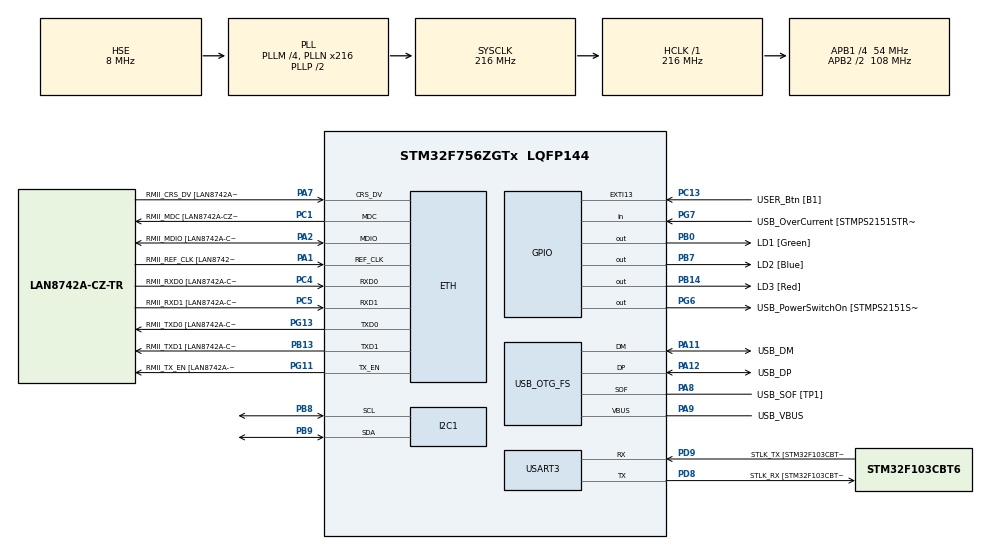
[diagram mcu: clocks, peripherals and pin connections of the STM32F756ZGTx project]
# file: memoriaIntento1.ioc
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ETH.MediaInterface=HAL_ETH_RMII_MODE
ETH.PHY_Name=LAN8742A_PHY_ADDRESS
ETH.PHY_Value=0
ETH.PhyAddress=0
I2C1.Timing=0x20404768
Mcu.Family=STM32F7
Mcu.Name=STM32F756ZGTx
Mcu.Package=LQFP144
NVIC.PriorityGroup=NVIC_PRIORITYGROUP_4
PA1.GPIO_Label=RMII_REF_CLK [LAN8742A-CZ-TR_REFCLK0]
PA1.Mode=RMII
PA1.Signal=ETH_REF_CLK
PA10.GPIO_Label=USB_ID
PA10.Signal=USB_OTG_FS_ID
PA11.GPIO_Label=USB_DM
PA11.Mode=Device_Only
PA11.Signal=USB_OTG_FS_DM
PA12.GPIO_Label=USB_DP
PA12.Mode=Device_Only
PA12.Signal=USB_OTG_FS_DP
PA13.GPIO_Label=TMS
PA13.Mode=Serial_Wire
PA13.Signal=SYS_JTMS-SWDIO
PA14.GPIO_Label=TCK
PA14.Mode=Serial_Wire
PA14.Signal=SYS_JTCK-SWCLK
PA2.GPIO_Label=RMII_MDIO [LAN8742A-CZ-TR_MDIO]
PA2.Mode=RMII
PA2.Signal=ETH_MDIO
PA7.GPIO_Label=RMII_CRS_DV [LAN8742A-CZ-TR_CRS_DV]
PA7.Mode=RMII
PA7.Signal=ETH_CRS_DV
PA8.GPIO_Label=USB_SOF [TP1]
PA8.Mode=Activate_SOF_FS
PA8.Signal=USB_OTG_FS_SOF
PA9.GPIO_Label=USB_VBUS
PA9.Mode=Activate_VBUS
PA9.Signal=USB_OTG_FS_VBUS
PB0.GPIO_Label=LD1 [Green]
PB0.Signal=GPIO_Output
PB13.GPIO_Label=RMII_TXD1 [LAN8742A-CZ-TR_TXD1]
PB13.Mode=RMII
PB13.Signal=ETH_TXD1
PB14.GPIO_Label=LD3 [Red]
PB14.Signal=GPIO_Output
PB3.GPIO_Label=SW0
PB3.Signal=SYS_JTDO-SWO
PB7.GPIO_Label=LD2 [Blue]
PB7.Signal=GPIO_Output
PB8.Mode=I2C
PB8.Signal=I2C1_SCL
PB9.Mode=I2C
PB9.Signal=I2C1_SDA
PC1.GPIO_Label=RMII_MDC [LAN8742A-CZ-TR_MDC]
PC1.Mode=RMII
PC1.Signal=ETH_MDC
PC13.GPIO_Label=USER_Btn [B1]
PC13.Signal=GPXTI13
PC14/OSC32_IN.Signal=RCC_OSC32_IN
PC15/OSC32_OUT.Signal=RCC_OSC32_OUT
PC4.GPIO_Label=RMII_RXD0 [LAN8742A-CZ-TR_RXD0]
PC4.Mode=RMII
PC4.Signal=ETH_RXD0
PC5.GPIO_Label=RMII_RXD1 [LAN8742A-CZ-TR_RXD1]
PC5.Mode=RMII
PC5.Signal=ETH_RXD1
PD8.GPIO_Label=STLK_RX [STM32F103CBT6_PA3]
PD8.Mode=Asynchronous
PD8.Signal=USART3_TX
PD9.GPIO_Label=STLK_TX [STM32F103CBT6_PA2]
PD9.Mode=Asynchronous
PD9.Signal=USART3_RX
PG11.GPIO_Label=RMII_TX_EN [LAN8742A-CZ-TR_TXEN]
PG11.Mode=RMII
PG11.Signal=ETH_TX_EN
PG13.GPIO_Label=RMII_TXD0 [LAN8742A-CZ-TR_TXD0]
PG13.Mode=RMII
PG13.Signal=ETH_TXD0
PG6.GPIO_Label=USB_PowerSwitchOn [STMPS2151STR_EN]
PG6.Signal=GPIO_Output
PG7.GPIO_Label=USB_OverCurrent [STMPS2151STR_FAULT]
PG7.Signal=GPIO_Input
PH0/OSC_IN.GPIO_Label=MCO [STM32F103CBT6_PA8]
PH0/OSC_IN.Mode=HSE-External-Oscillator
PH0/OSC_IN.Signal=RCC_OSC_IN
PH1/OSC_OUT.Mode=HSE-External-Oscillator
PH1/OSC_OUT.Signal=RCC_OSC_OUT
ProjectManager.HeapSize=0x200
ProjectManager.StackSize=0x400
ProjectManager.TargetToolchain=STM32CubeIDE
RCC.48MHZClocksFreq_Value=24000000
RCC.AHBFreq_Value=216000000
RCC.APB1CLKDivider=RCC_HCLK_DIV4
RCC.APB1Freq_Value=54000000
RCC.APB1TimFreq_Value=108000000
RCC.APB2CLKDivider=RCC_HCLK_DIV2
RCC.APB2Freq_Value=108000000
RCC.APB2TimFreq_Value=216000000
RCC.CortexFreq_Value=216000000
RCC.HCLKFreq_Value=216000000
RCC.HSE_VALUE=8000000
RCC.HSI_VALUE=16000000
RCC.PLLM=4
RCC.PLLMUL=RCC_PLL_MUL9
RCC.PLLN=216
RCC.PLLQ=9
RCC.PRESCALERUSB=RCC_USBCLKSOURCE_PLL_DIV1_5
RCC.SYSCLKFreq_VALUE=216000000
RCC.SYSCLKSource=RCC_SYSCLKSOURCE_PLLCLK
RCC.SYSCLKSourceVirtual=RCC_SYSCLKSOURCE_PLLCLK
RCC.USBFreq_Value=48000000
RCC.VCOOutputFreq_Value=432000000
USART3.VirtualMode-Asynchronous=VM_ASYNC
USB_OTG_FS.VirtualMode=Device_Only
board=NUCLEO-F756ZG

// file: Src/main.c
/* USER CODE BEGIN Header */
/**
  ******************************************************************************
  * @file           : main.c
  * @brief          : Main program body
  ******************************************************************************
  * @attention
  *
  * Copyright (c) 2024 STMicroelectronics.
  * All rights reserved.
  *
  * This software is licensed under terms that can be found in the LICENSE file
  * in the root directory of this software component.
  * If no LICENSE file comes with this software, it is provided AS-IS.
  *
  ******************************************************************************
  */
/* USER CODE END Header */
#include "main.h"
#include "string.h"

/* USER CODE BEGIN Includes */
#include <stdlib.h>
/* USER CODE END Includes */

#if defined ( __ICCARM__ ) /*!< IAR Compiler */
#pragma location=0x2004c000
ETH_DMADescTypeDef  DMARxDscrTab[ETH_RX_DESC_CNT]; /* Ethernet Rx DMA Descriptors */
#pragma location=0x2004c0a0
ETH_DMADescTypeDef  DMATxDscrTab[ETH_TX_DESC_CNT]; /* Ethernet Tx DMA Descriptors */

#elif defined ( __CC_ARM )  /* MDK ARM Compiler */

__attribute__((at(0x2004c000))) ETH_DMADescTypeDef  DMARxDscrTab[ETH_RX_DESC_CNT]; /* Ethernet Rx DMA Descriptors */
__attribute__((at(0x2004c0a0))) ETH_DMADescTypeDef  DMATxDscrTab[ETH_TX_DESC_CNT]; /* Ethernet Tx DMA Descriptors */

#elif defined ( __GNUC__ ) /* GNU Compiler */

ETH_DMADescTypeDef DMARxDscrTab[ETH_RX_DESC_CNT] __attribute__((section(".RxDecripSection"))); /* Ethernet Rx DMA Descriptors */
ETH_DMADescTypeDef DMATxDscrTab[ETH_TX_DESC_CNT] __attribute__((section(".TxDecripSection")));   /* Ethernet Tx DMA Descriptors */
#endif

ETH_TxPacketConfig TxConfig;

ETH_HandleTypeDef heth;

I2C_HandleTypeDef hi2c1;

UART_HandleTypeDef huart3;

PCD_HandleTypeDef hpcd_USB_OTG_FS;

void SystemClock_Config(void);
static void MX_GPIO_Init(void);
static void MX_ETH_Init(void);
static void MX_USART3_UART_Init(void);
static void MX_USB_OTG_FS_PCD_Init(void);
static void MX_I2C1_Init(void);

/* USER CODE BEGIN 0 */

// Declare a function to calculate free SRAM
size_t getFreeSRAM() {
    // Symbols provided by the linker script
    extern uint8_t _end;    // End of the heap
    extern uint8_t _estack; // End of SRAM (start of the stack)
    uint8_t* sp = (uint8_t*)__get_MSP(); // Main Stack Pointer (MSP)

    // Calculate free SRAM as the space between the end of the heap and current stack pointer
    return (size_t)(sp - &_end);
}
//Test variables
uint8_t TxBuffer[5120];
uint8_t TrBuffer[5120];
size_t freeSRAM;
uint8_t* allocations[10000]; // Array to store pointers to allocated memory
size_t allocationSize = 256; // Allocate in 256-byte chunks (adjust as needed)
size_t i = 0;

void stressTestSRAM() {

    while (1) {
        allocations[i] = (uint8_t*)malloc(allocationSize);
        if (allocations[i] != NULL) {
        	freeSRAM=getFreeSRAM(); //Check current free SRAM
        	HAL_GPIO_TogglePin(LD1_GPIO_Port, LD1_Pin);
            i++;
        } else {
            //printf("Allocation failed! Out of memory.\n");
            break; // Stop if we run out of SRAM
        }

        HAL_Delay(100); // Delay to slow down the allocation rate (adjust as needed)
    }

    // Free allocated memory after test (optional)
    //for (size_t j = 0; j < i; j++) {
    //  free(allocations[j]);
    //}
}
/* USER CODE END 0 */

int main(void)
{

  /* MCU Configuration--------------------------------------------------------*/

  /* Reset of all peripherals, Initializes the Flash interface and the Systick. */
  HAL_Init();

  /* Configure the system clock */
  SystemClock_Config();

  /* Initialize all configured peripherals */
  MX_GPIO_Init();
  MX_ETH_Init();
  MX_USART3_UART_Init();
  MX_USB_OTG_FS_PCD_Init();
  MX_I2C1_Init();
  /* USER CODE BEGIN 2 */
  //memset(TxBuffer,0x1,5120);
  //memset(TrBuffer,0x1,5120);
  stressTestSRAM();

  /* USER CODE END 2 */

  /* Infinite loop */
  while (1)
  {
	freeSRAM=getFreeSRAM();
	HAL_Delay(1000); // Check SRAM every second
  }
}

void SystemClock_Config(void)
{
  RCC_OscInitTypeDef RCC_OscInitStruct = {0};
  RCC_ClkInitTypeDef RCC_ClkInitStruct = {0};

  /** Configure the main internal regulator output voltage
  */
  __HAL_RCC_PWR_CLK_ENABLE();
  __HAL_PWR_VOLTAGESCALING_CONFIG(PWR_REGULATOR_VOLTAGE_SCALE1);

  /** Initializes the RCC Oscillators according to the specified parameters
  * in the RCC_OscInitTypeDef structure.
  */
  RCC_OscInitStruct.OscillatorType = RCC_OSCILLATORTYPE_HSE;
  RCC_OscInitStruct.HSEState = RCC_HSE_ON;
  RCC_OscInitStruct.PLL.PLLState = RCC_PLL_ON;
  RCC_OscInitStruct.PLL.PLLSource = RCC_PLLSOURCE_HSE;
  RCC_OscInitStruct.PLL.PLLM = 4;
  RCC_OscInitStruct.PLL.PLLN = 216;
  RCC_OscInitStruct.PLL.PLLP = RCC_PLLP_DIV2;
  RCC_OscInitStruct.PLL.PLLQ = 9;
  if (HAL_RCC_OscConfig(&RCC_OscInitStruct) != HAL_OK)
  {
    Error_Handler();
  }

  /** Activate the Over-Drive mode
  */
  if (HAL_PWREx_EnableOverDrive() != HAL_OK)
  {
    Error_Handler();
  }

  /** Initializes the CPU, AHB and APB buses clocks
  */
  RCC_ClkInitStruct.ClockType = RCC_CLOCKTYPE_HCLK|RCC_CLOCKTYPE_SYSCLK
                              |RCC_CLOCKTYPE_PCLK1|RCC_CLOCKTYPE_PCLK2;
  RCC_ClkInitStruct.SYSCLKSource = RCC_SYSCLKSOURCE_PLLCLK;
  RCC_ClkInitStruct.AHBCLKDivider = RCC_SYSCLK_DIV1;
  RCC_ClkInitStruct.APB1CLKDivider = RCC_HCLK_DIV4;
  RCC_ClkInitStruct.APB2CLKDivider = RCC_HCLK_DIV2;

  if (HAL_RCC_ClockConfig(&RCC_ClkInitStruct, FLASH_LATENCY_7) != HAL_OK)
  {
    Error_Handler();
  }
}

static void MX_ETH_Init(void)
{

   static uint8_t MACAddr[6];

  heth.Instance = ETH;
  MACAddr[0] = 0x00;
  MACAddr[1] = 0x80;
  MACAddr[2] = 0xE1;
  MACAddr[3] = 0x00;
  MACAddr[4] = 0x00;
  MACAddr[5] = 0x00;
  heth.Init.MACAddr = &MACAddr[0];
  heth.Init.MediaInterface = HAL_ETH_RMII_MODE;
  heth.Init.TxDesc = DMATxDscrTab;
  heth.Init.RxDesc = DMARxDscrTab;
  heth.Init.RxBuffLen = 1524;

  if (HAL_ETH_Init(&heth) != HAL_OK)
  {
    Error_Handler();
  }

  memset(&TxConfig, 0 , sizeof(ETH_TxPacketConfig));
  TxConfig.Attributes = ETH_TX_PACKETS_FEATURES_CSUM | ETH_TX_PACKETS_FEATURES_CRCPAD;
  TxConfig.ChecksumCtrl = ETH_CHECKSUM_IPHDR_PAYLOAD_INSERT_PHDR_CALC;
  TxConfig.CRCPadCtrl = ETH_CRC_PAD_INSERT;

}

static void MX_I2C1_Init(void)
{

  hi2c1.Instance = I2C1;
  hi2c1.Init.Timing = 0x20404768;
  hi2c1.Init.OwnAddress1 = 0;
  hi2c1.Init.AddressingMode = I2C_ADDRESSINGMODE_7BIT;
  hi2c1.Init.DualAddressMode = I2C_DUALADDRESS_DISABLE;
  hi2c1.Init.OwnAddress2 = 0;
  hi2c1.Init.OwnAddress2Masks = I2C_OA2_NOMASK;
  hi2c1.Init.GeneralCallMode = I2C_GENERALCALL_DISABLE;
  hi2c1.Init.NoStretchMode = I2C_NOSTRETCH_DISABLE;
  if (HAL_I2C_Init(&hi2c1) != HAL_OK)
  {
    Error_Handler();
  }

  /** Configure Analogue filter
  */
  if (HAL_I2CEx_ConfigAnalogFilter(&hi2c1, I2C_ANALOGFILTER_ENABLE) != HAL_OK)
  {
    Error_Handler();
  }

  /** Configure Digital filter
  */
  if (HAL_I2CEx_ConfigDigitalFilter(&hi2c1, 0) != HAL_OK)
  {
    Error_Handler();
  }

}

static void MX_USART3_UART_Init(void)
{

  huart3.Instance = USART3;
  huart3.Init.BaudRate = 115200;
  huart3.Init.WordLength = UART_WORDLENGTH_8B;
  huart3.Init.StopBits = UART_STOPBITS_1;
  huart3.Init.Parity = UART_PARITY_NONE;
  huart3.Init.Mode = UART_MODE_TX_RX;
  huart3.Init.HwFlowCtl = UART_HWCONTROL_NONE;
  huart3.Init.OverSampling = UART_OVERSAMPLING_16;
  huart3.Init.OneBitSampling = UART_ONE_BIT_SAMPLE_DISABLE;
  huart3.AdvancedInit.AdvFeatureInit = UART_ADVFEATURE_NO_INIT;
  if (HAL_UART_Init(&huart3) != HAL_OK)
  {
    Error_Handler();
  }

}

static void MX_USB_OTG_FS_PCD_Init(void)
{

  hpcd_USB_OTG_FS.Instance = USB_OTG_FS;
  hpcd_USB_OTG_FS.Init.dev_endpoints = 6;
  hpcd_USB_OTG_FS.Init.speed = PCD_SPEED_FULL;
  hpcd_USB_OTG_FS.Init.dma_enable = DISABLE;
  hpcd_USB_OTG_FS.Init.phy_itface = PCD_PHY_EMBEDDED;
  hpcd_USB_OTG_FS.Init.Sof_enable = ENABLE;
  hpcd_USB_OTG_FS.Init.low_power_enable = DISABLE;
  hpcd_USB_OTG_FS.Init.lpm_enable = DISABLE;
  hpcd_USB_OTG_FS.Init.vbus_sensing_enable = ENABLE;
  hpcd_USB_OTG_FS.Init.use_dedicated_ep1 = DISABLE;
  if (HAL_PCD_Init(&hpcd_USB_OTG_FS) != HAL_OK)
  {
    Error_Handler();
  }

}

static void MX_GPIO_Init(void)
{
  GPIO_InitTypeDef GPIO_InitStruct = {0};

  /* GPIO Ports Clock Enable */
  __HAL_RCC_GPIOC_CLK_ENABLE();
  __HAL_RCC_GPIOH_CLK_ENABLE();
  __HAL_RCC_GPIOA_CLK_ENABLE();
  __HAL_RCC_GPIOB_CLK_ENABLE();
  __HAL_RCC_GPIOD_CLK_ENABLE();
  __HAL_RCC_GPIOG_CLK_ENABLE();

  /*Configure GPIO pin Output Level */
  HAL_GPIO_WritePin(GPIOB, LD1_Pin|LD3_Pin|LD2_Pin, GPIO_PIN_RESET);

  /*Configure GPIO pin Output Level */
  HAL_GPIO_WritePin(USB_PowerSwitchOn_GPIO_Port, USB_PowerSwitchOn_Pin, GPIO_PIN_RESET);

  /*Configure GPIO pin : USER_Btn_Pin */
  GPIO_InitStruct.Pin = USER_Btn_Pin;
  GPIO_InitStruct.Mode = GPIO_MODE_IT_RISING;
  GPIO_InitStruct.Pull = GPIO_NOPULL;
  HAL_GPIO_Init(USER_Btn_GPIO_Port, &GPIO_InitStruct);

  /*Configure GPIO pins : LD1_Pin LD3_Pin LD2_Pin */
  GPIO_InitStruct.Pin = LD1_Pin|LD3_Pin|LD2_Pin;
  GPIO_InitStruct.Mode = GPIO_MODE_OUTPUT_PP;
  GPIO_InitStruct.Pull = GPIO_NOPULL;
  GPIO_InitStruct.Speed = GPIO_SPEED_FREQ_LOW;
  HAL_GPIO_Init(GPIOB, &GPIO_InitStruct);

  /*Configure GPIO pin : USB_PowerSwitchOn_Pin */
  GPIO_InitStruct.Pin = USB_PowerSwitchOn_Pin;
  GPIO_InitStruct.Mode = GPIO_MODE_OUTPUT_PP;
  GPIO_InitStruct.Pull = GPIO_NOPULL;
  GPIO_InitStruct.Speed = GPIO_SPEED_FREQ_LOW;
  HAL_GPIO_Init(USB_PowerSwitchOn_GPIO_Port, &GPIO_InitStruct);

  /*Configure GPIO pin : USB_OverCurrent_Pin */
  GPIO_InitStruct.Pin = USB_OverCurrent_Pin;
  GPIO_InitStruct.Mode = GPIO_MODE_INPUT;
  GPIO_InitStruct.Pull = GPIO_NOPULL;
  HAL_GPIO_Init(USB_OverCurrent_GPIO_Port, &GPIO_InitStruct);

}

void Error_Handler(void)
{
  __disable_irq();
  while (1)
  {
  }
}
